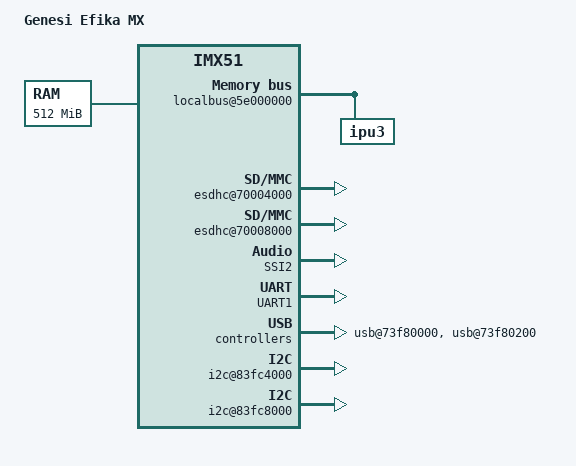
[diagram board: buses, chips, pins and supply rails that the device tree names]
/*
 * Copyright (c) 2012 The FreeBSD Foundation
 * All rights reserved.
 *
 * This software was developed by Semihalf under sponsorship from
 * the FreeBSD Foundation.
 *
 * Redistribution and use in source and binary forms, with or without
 * modification, are permitted provided that the following conditions
 * are met:
 * 1. Redistributions of source code must retain the above copyright
 *    notice, this list of conditions and the following disclaimer.
 * 2. Redistributions in binary form must reproduce the above copyright
 *    notice, this list of conditions and the following disclaimer in the
 *    documentation and/or other materials provided with the distribution.
 *
 * THIS SOFTWARE IS PROVIDED BY THE AUTHOR AND CONTRIBUTORS ``AS IS'' AND
 * ANY EXPRESS OR IMPLIED WARRANTIES, INCLUDING, BUT NOT LIMITED TO, THE
 * IMPLIED WARRANTIES OF MERCHANTABILITY AND FITNESS FOR A PARTICULAR PURPOSE
 * ARE DISCLAIMED. IN NO EVENT SHALL THE AUTHOR OR CONTRIBUTORS BE LIABLE
 * FOR ANY DIRECT, INDIRECT, INCIDENTAL, SPECIAL, EXEMPLARY, OR CONSEQUENTIAL
 * DAMAGES (INCLUDING, BUT NOT LIMITED TO, PROCUREMENT OF SUBSTITUTE GOODS
 * OR SERVICES; LOSS OF USE, DATA, OR PROFITS; OR BUSINESS INTERRUPTION)
 * HOWEVER CAUSED AND ON ANY THEORY OF LIABILITY, WHETHER IN CONTRACT, STRICT
 * LIABILITY, OR TORT (INCLUDING NEGLIGENCE OR OTHERWISE) ARISING IN ANY WAY
 * OUT OF THE USE OF THIS SOFTWARE, EVEN IF ADVISED OF THE POSSIBILITY OF
 * SUCH DAMAGE.
 *
 * Freescale i.MX515 Device Tree Source.
 *
 * $FreeBSD$
 */

/dts-v1/;
/include/ "imx51x.dtsi"

/ {
	model = "Genesi Efika MX";
	compatible = "genesi,imx51-efikamx", "fsl,imx51";

	memory {
		/* RAM 512M */
		reg = <0x90000000 0x20000000>;
	};

	localbus@5e000000 {
		ipu3@5e000000 {
			status = "okay";
		};
	};

	soc@70000000 {
		aips@70000000 {
			spba@70000000 {
				esdhc@70004000 {
					clock-frequency = <216000000>;
					status = "okay";
				};
				esdhc@70008000 {
					clock-frequency = <216000000>;
					status = "okay";
				};
				SSI2: ssi@70014000 {
					status = "okay";
				};
			};
			timer@73fa0000 {
				status = "okay";
			};

			/* UART1, console */
			UART1: serial@73fbc000 {
				status = "okay";
				clock-frequency = <3000000>; /* XXX */
			};

			clock@73fd4000 {
				status = "okay";
			};
			gpio@73f84000 {
				status = "okay";
			};
			gpio@73f88000 {
				status = "okay";
			};
			gpio@73f8c000 {
				status = "okay";
			};
			gpio@73f90000 {
				status = "okay";
			};
			usb@73f80000 /* OTG */ {
				status = "okay";
			};
			usb@73f80200 /* Host 1 */ {
				status = "okay";
			};
			wdog@73f98000 {
				status = "okay";
			};
		};
		aips@80000000 {
			i2c@83fc4000 {
				status = "okay";
			};
			i2c@83fc8000 {
				status = "okay";
			};
			audmux@83fd4000 {
				status = "okay";
			};
			ide@83fe0000 {
				status = "okay";
			};
		};
	};

	aliases {
		UART1 = &UART1;
		SSI2 = &SSI2;
	};

	chosen {
		bootargs = "-v";
		stdin = "UART1";
		stdout = "UART1";
	};
};
